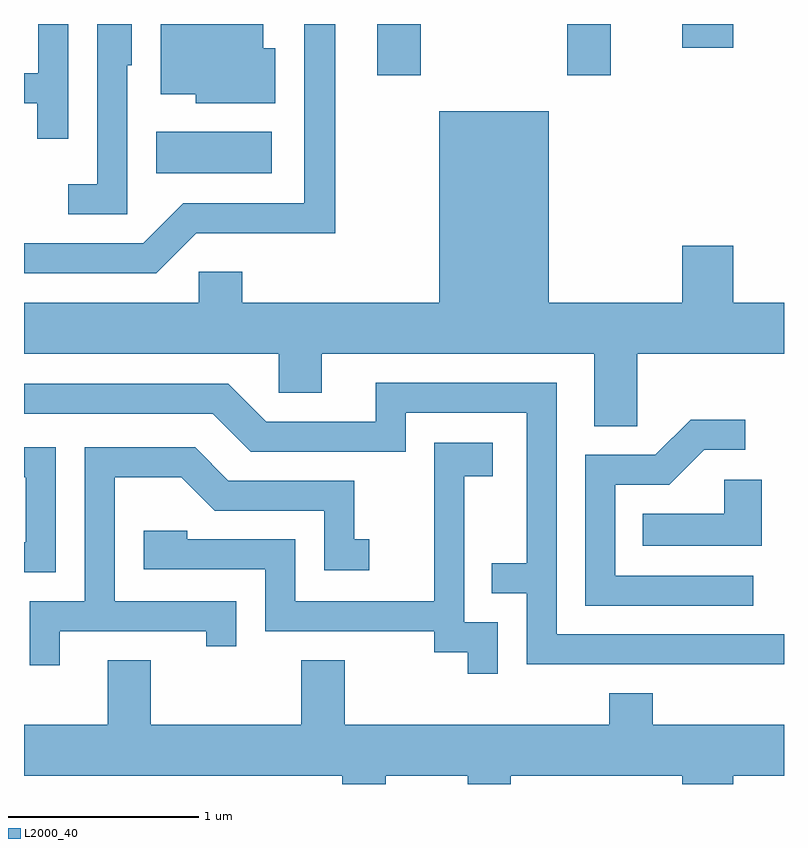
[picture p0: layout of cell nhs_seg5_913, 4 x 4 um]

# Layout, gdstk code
import gdstk
lib = gdstk.Library(unit=1e-6, precision=1e-09)
def R(c, l, rs):  # rectangles x0, y0, x1, y1
    for r in rs: c.add(gdstk.rectangle(r[:2], r[2:], *l))
def P(c, l, *ps):  # polygons
    for p in ps: c.add(gdstk.Polygon(p, *l))
L2000_40 = (2000, 40)

nhs_seg5_913 = lib.new_cell('nhs_seg5_913')
R(nhs_seg5_913, L2000_40, [(212.306,1473.286,212.914,1473.504), (213.471,1473.801,213.699,1474.072), (214.471,1473.801,214.699,1474.072), (215.076,1473.946,215.344,1474.072)])
P(nhs_seg5_913, L2000_40, [(212.154,1473.856),(212.179,1473.856),(212.179,1474.072),(211.996,1474.072),(211.996,1473.229),(211.843,1473.229),(211.843,1473.071),(212.154,1473.071)],
  [(211.844,1474.072),(211.686,1474.072),(211.686,1473.814),(211.611,1473.814),(211.611,1473.656),(211.681,1473.656),(211.681,1473.468),(211.844,1473.468)],
  [(212.934,1473.944),(212.869,1473.944),(212.869,1474.072),(212.331,1474.072),(212.331,1473.701),(212.516,1473.701),(212.516,1473.656),(212.934,1473.656)],
  [(212.517,1472.971),(213.249,1472.971),(213.249,1474.072),(213.086,1474.072),(213.086,1473.129),(212.449,1473.129),(212.239,1472.919),(211.611,1472.919),(211.611,1472.761),(212.307,1472.761)],
  [(214.839,1472.336),(215.611,1472.336),(215.611,1472.604),(215.344,1472.604),(215.344,1472.904),(215.076,1472.904),(215.076,1472.604),(214.374,1472.604),(214.374,1473.614),(213.796,1473.614),(213.796,1472.604),(212.759,1472.604),(212.759,1472.769),(212.531,1472.769),(212.531,1472.604),(211.611,1472.604),(211.611,1472.336),(212.951,1472.336),(212.951,1472.131),(213.179,1472.131),(213.179,1472.336),(214.611,1472.336),(214.611,1471.956),(214.839,1471.956)],
  [(215.611,1470.859),(214.414,1470.859),(214.414,1472.184),(213.461,1472.184),(213.461,1471.979),(212.887,1471.979),(212.687,1472.179),(211.611,1472.179),(211.611,1472.021),(212.604,1472.021),(212.804,1471.821),(213.619,1471.821),(213.619,1472.026),(214.256,1472.026),(214.256,1471.234),(214.073,1471.234),(214.073,1471.076),(214.256,1471.076),(214.256,1470.701),(215.611,1470.701)],
  [(215.448,1471.169),(214.724,1471.169),(214.724,1471.646),(215.007,1471.646),(215.192,1471.831),(215.408,1471.831),(215.408,1471.989),(215.119,1471.989),(214.934,1471.804),(214.566,1471.804),(214.566,1471.011),(215.448,1471.011)],
  [(214.104,1470.924),(213.929,1470.924),(213.929,1471.691),(214.079,1471.691),(214.079,1471.869),(213.771,1471.869),(213.771,1471.034),(213.039,1471.034),(213.039,1471.359),(212.469,1471.359),(212.469,1471.404),(212.241,1471.404),(212.241,1471.201),(212.881,1471.201),(212.881,1470.876),(213.771,1470.876),(213.771,1470.766),(213.946,1470.766),(213.946,1470.653),(214.104,1470.653)],
  [(211.799,1470.876),(212.571,1470.876),(212.571,1470.798),(212.729,1470.798),(212.729,1471.034),(212.089,1471.034),(212.089,1471.686),(212.439,1471.686),(212.614,1471.511),(213.191,1471.511),(213.191,1471.196),(213.428,1471.196),(213.428,1471.359),(213.349,1471.359),(213.349,1471.669),(212.687,1471.669),(212.512,1471.844),(211.931,1471.844),(211.931,1471.034),(211.641,1471.034),(211.641,1470.698),(211.799,1470.698)],
  [(211.779,1471.844),(211.611,1471.844),(211.611,1471.686),(211.621,1471.686),(211.621,1471.344),(211.611,1471.344),(211.611,1471.186),(211.779,1471.186)],
  [(215.494,1471.674),(215.296,1471.674),(215.296,1471.494),(214.868,1471.494),(214.868,1471.326),(215.494,1471.326)],
  [(213.514,1470.116),(213.946,1470.116),(213.946,1470.072),(214.174,1470.072),(214.174,1470.116),(215.076,1470.116),(215.076,1470.072),(215.344,1470.072),(215.344,1470.116),(215.611,1470.116),(215.611,1470.384),(214.919,1470.384),(214.919,1470.549),(214.691,1470.549),(214.691,1470.384),(213.299,1470.384),(213.299,1470.724),(213.071,1470.724),(213.071,1470.384),(212.279,1470.384),(212.279,1470.724),(212.051,1470.724),(212.051,1470.384),(211.611,1470.384),(211.611,1470.116),(213.286,1470.116),(213.286,1470.072),(213.514,1470.072)])

lib.write_gds('nhs_seg5_913.gds')
